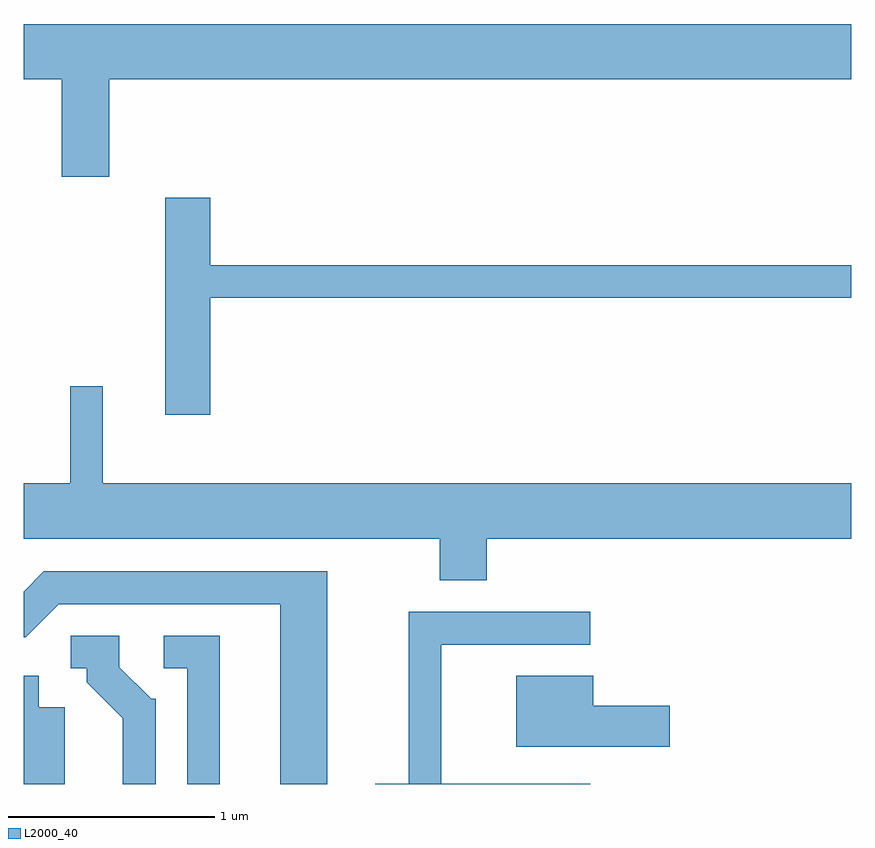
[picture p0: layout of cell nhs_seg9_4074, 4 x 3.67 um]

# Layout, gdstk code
import gdstk
lib = gdstk.Library(unit=1e-6, precision=1e-09)
def P(c, l, *ps):  # polygons
    for p in ps: c.add(gdstk.Polygon(p, *l))
L2000_40 = (2000, 40)

nhs_seg9_4074 = lib.new_cell('nhs_seg9_4074')
P(nhs_seg9_4074, L2000_40, [(305.611,1971.836),(305.796,1971.836),(305.796,1971.366),(306.024,1971.366),(306.024,1971.836),(309.611,1971.836),(309.611,1972.104),(305.611,1972.104)],
  [(306.514,1970.781),(309.611,1970.781),(309.611,1970.939),(306.514,1970.939),(306.514,1971.264),(306.296,1971.264),(306.296,1970.216),(306.514,1970.216)],
  [(307.849,1969.616),(309.611,1969.616),(309.611,1969.884),(305.994,1969.884),(305.994,1970.353),(305.836,1970.353),(305.836,1969.884),(305.611,1969.884),(305.611,1969.616),(307.621,1969.616),(307.621,1969.416),(307.849,1969.416)],
  [(307.079,1969.459),(305.709,1969.459),(305.611,1969.361),(305.611,1969.141),(305.622,1969.141),(305.782,1969.301),(306.851,1969.301),(306.851,1968.432),(307.079,1968.432)],
  [(308.348,1968.434),(307.629,1968.434),(307.629,1969.106),(308.348,1969.106),(308.348,1969.264),(307.471,1969.264),(307.471,1968.434),(307.311,1968.434),(307.311,1968.432),(308.348,1968.432)],
  [(306.249,1968.844),(306.227,1968.844),(306.074,1968.997),(306.074,1969.149),(305.838,1969.149),(305.838,1968.991),(305.916,1968.991),(305.916,1968.924),(306.091,1968.749),(306.091,1968.432),(306.249,1968.432)],
  [(306.559,1969.149),(306.288,1969.149),(306.288,1968.991),(306.401,1968.991),(306.401,1968.432),(306.559,1968.432)],
  [(305.809,1968.804),(305.684,1968.804),(305.684,1968.954),(305.611,1968.954),(305.611,1968.432),(305.809,1968.432)],
  [(308.734,1968.809),(308.364,1968.809),(308.364,1968.954),(307.991,1968.954),(307.991,1968.611),(308.734,1968.611)])

lib.write_gds('nhs_seg9_4074.gds')
